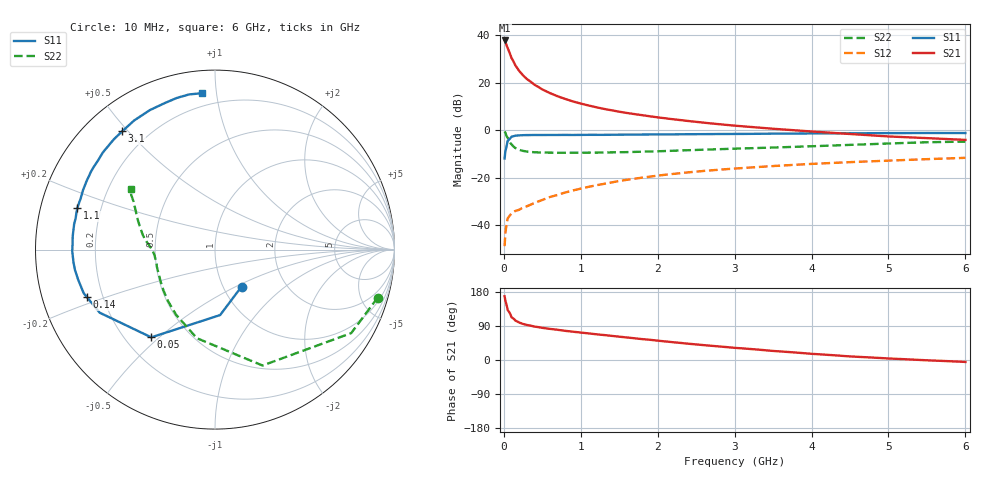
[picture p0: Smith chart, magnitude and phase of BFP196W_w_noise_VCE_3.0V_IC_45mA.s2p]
! Infineon Technologies  Discrete & RF Semiconductors
! BFP196W
! VCE =  3.0 V,  IC =  45 mA
! Common Emitter S-Parameters:  Jan 2017
# GHz  S  MA  R  50
!  f  S11  S21  S12  S22
! GHz  MAG  ANG  MAG  ANG  MAG  ANG  MAG  ANG
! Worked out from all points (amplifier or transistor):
!   77 points, 10 MHz to 6 GHz, reference 50 ohm
!   highest |S21| = 37.9 dB at 10 MHz (marker M1)
!   |S21| within 3 dB of that: start of sweep to 47.15 MHz
!   unconditionally stable (mu >= 1): 666.8 MHz to 3.338 GHz
!   at 130 MHz: K = 0.42, MSG = 31.6 dB, |S12| = -34.4 dB
!   at 2.2 GHz: K = 1.04, MAG = 10.3 dB, |S12| = -18.4 dB
!   at 6 GHz: K = 0.95, MSG = 3.8 dB, |S12| = -11.6 dB
!   lowest NFmin = 1.31 dB at 450 MHz
!   S11 on the Smith chart (normalised r, x): 10 MHz: 1.22, -0.54; 50 MHz: 0.31, -0.47; 140 MHz: 0.14, -0.18; 1.1 GHz: 0.11, +0.14; 3.1 GHz: 0.11, +0.48; 6 GHz: 0.12, +0.91
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0.01  0.2538 -54.4  78.25 168.2  0.0036 79.1  0.9454 -16.4
0.02  0.3658 -85.5  73.17 156.3  0.0068 72.4  0.8902 -31.5
0.05  0.6041 -126.0  54 131.7  0.0139 51.5  0.6981 -67.7
0.1  0.7324 -151.3  33.24 112.7  0.0177 42.4  0.5038 -101.6
0.14  0.7611 -159.6  25.26 106.4  0.0195 39.7  0.4341 -116.6
0.15  0.7707 -161.6  23.33 104.1  0.0199 39.1  0.4222 -121.0
0.2  0.7807 -167.6  17.8 98.8  0.0211 42.7  0.3875 -132.8
0.25  0.7885 -171.8  14.34 95.1  0.0236 43.5  0.3671 -141.2
0.3  0.7916 -174.9  12 92.5  0.025 46.5  0.3556 -147.0
0.4  0.7954 -179.3  9.074 88.1  0.0293 51.8  0.3438 -154.9
0.5  0.7942 177.3  7.262 84.9  0.0339 55.6  0.3392 -160.0
0.6  0.7963 174.6  6.074 82.1  0.0392 57.1  0.3377 -163.5
0.7  0.7962 172.1  5.203 79.7  0.0434 59.7  0.3353 -166.2
0.9  0.7958 167.4  4.048 74.6  0.0538 61.5  0.3358 -170.0
1.1  0.8011 163.3  3.334 70.2  0.0641 62.1  0.3373 -172.9
1.3  0.8006 159.3  2.825 65.9  0.0741 61.6  0.3395 -175.3
1.5  0.8066 155.7  2.462 61.6  0.0852 60.7  0.3442 -177.5
2.1  0.8181 144.3  1.788 49.0  0.1153 56.8  0.3651 176.7
3.1  0.8374 128.1  1.214 30.7  0.1598 48.1  0.4136 167.8
4.1  0.858 113.9  0.92 15.1  0.1987 39.6  0.4661 158.0
5.1  0.8719 103.2  0.729 3.1  0.2324 31.5  0.5323 149.0
6  0.8743 94.7  0.627 -5.1  0.2621 24.4  0.5767 144.3
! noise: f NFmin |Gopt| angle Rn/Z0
0.45  1.31  0.5  -177  0.05
0.9  1.44  0.54  -172  0.07
1.9  2.26  0.69  -150  0.15
2.4  2.66  0.73  -145  0.25
